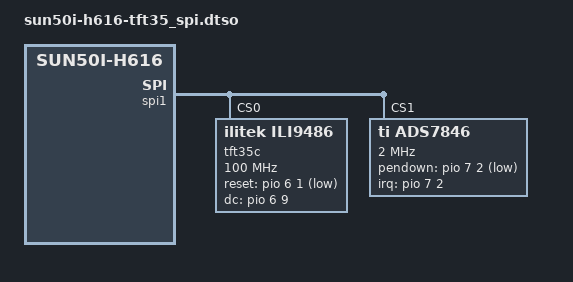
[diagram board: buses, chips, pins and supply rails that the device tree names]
/dts-v1/;
/plugin/;

#include <dt-bindings/interrupt-controller/irq.h>
#include <dt-bindings/gpio/gpio.h>

/ {
	compatible = "allwinner,sun50i-h616";

	fragment@0 {
		target-path = "/aliases";
		__overlay__ {
			spi1 = "/soc/spi@5011000";
		};
	};

	fragment@1 {
		target = <&spi1>;
		 __overlay__ {
			status = "okay";
			#address-cells = <1>;
			#size-cells = <0>;
			pinctrl-names = "default";
			pinctrl-0 = <&spi1_pins>, <&spi1_cs0_pin>, <&spi1_cs1_pin>;

			tft35c: tft35c@0 {
				compatible = "ilitek,ili9486";
				reg = <0>;
				spi-max-frequency = <100000000>;
				txbuflen = <32768>;
				rotate = <90>;
				bgr = <0>;
				fps = <60>;
				buswidth = <8>;
				regwidth = <16>;
				reset-gpios = <&pio 6 1 GPIO_ACTIVE_LOW>;  //phy.22
				dc-gpios = <&pio 6 9 GPIO_ACTIVE_HIGH>;    //phy.18
				debug = <0>;

				init = <0x10000f1 0x36 0x4 0x0 0x3c 0xf 0x8f
                                       0x10000f2 0x18 0xa3 0x12 0x2 0xb2 0x12 0xff 0x10 0x0
                                       0x10000f8 0x21 0x4
                                       0x10000f9 0x0 0x8
                                       0x1000036 0x8
                                       0x10000b4 0x0
                                       0x10000c1 0x41
                                       0x10000c5 0x0 0x91 0x80 0x0
                                       0x10000e0 0xf 0x1f 0x1c 0xc 0xf 0x8 0x48 0x98 0x37 0xa 0x13 0x4 0x11 0xd 0x0
                                       0x10000e1 0xf 0x32 0x2e 0xb 0xd 0x5 0x47 0x75 0x37 0x6 0x10 0x3 0x24 0x20 0x0
                                       0x100003a 0x55
                                       0x1000011
                                       0x1000036 0x28
                                       0x20000ff
                                       0x1000029>;
			};

			ads7846: ads7846@1 {
				compatible = "ti,ads7846";
				reg = <1>;
				spi-max-frequency = <2000000>;
				interrupt-parent = <&pio>;
				interrupts = <7 2 IRQ_TYPE_LEVEL_HIGH>;    //PH2
				pendown-gpio = <&pio 7 2 GPIO_ACTIVE_LOW>; //phy.11

				ti,x-plate-ohms = /bits/ 16 <60>;
				ti,pressure-max = /bits/ 16 <255>;
				ti,swap-xy = <1>;

				//linux,wakeup;
			};
		};
	};
};
